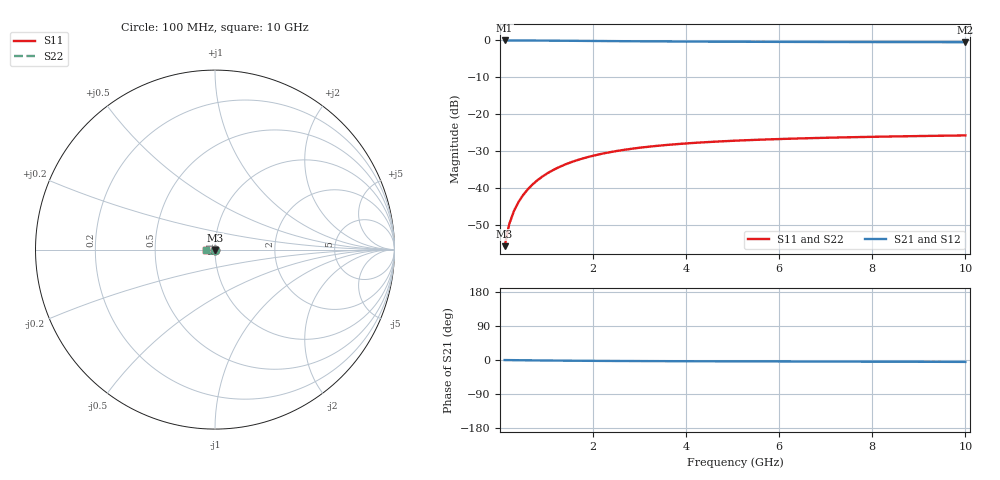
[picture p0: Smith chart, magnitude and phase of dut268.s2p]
! Touchstone file exported from HFSS 2024.1.0
!  File:  C:/UserFiles/LocalFiles/RDL_TSV_Batchsim/temp_TSV1_268_1778769716.aedt
!  Generated:  10:46:49 PM May 14, 2026
!  Design:  TSV1
!  Project:  temp_TSV1_268_1778769716
!  Setup:  Setup1
!  Solution:  Sweep
! Variables:
!  dtsv = 14.14um
!  hbump = 3um
!  htsv = 75.69um
!  lrdl = 252.1521522um
!  p = 40
!  p1 = 59.17um
!  t = 500um
!  trdl = 3um
!  wrdl = 24.89489489um
# GHz S MA R 50.000000
! Terminal data exported
! Port[1] = TSV22_T1
! Port[2] = TSV22_T2
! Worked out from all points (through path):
!   100 points, 100 MHz to 10 GHz, reference 50 ohm
!   highest |S21| = 0.00 dB at 100 MHz (marker M1); lowest = -0.5 dB at 10 GHz (marker M2)
!   lowest |S11| = -55.8 dB at 100 MHz (marker M3), VSWR 1.00, Z = 50 - j0.162 ohm
!   |S11| at or under -10 dB: start of sweep to end of sweep
!   |S22| runs from -55.8 to -25.8 dB; largest |S21 - S12| = 4.1e-15
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0.1  0.001623 -89.2  0.9999 -0.1  0.9999 -0.1  0.001623 -89.2
! Gamma 0 0 0 0
! Port Impedance 50 0 50 0
0.2  0.003244 -92.5  0.9997 -0.3  0.9997 -0.3  0.003244 -92.5
0.3  0.004861 -94.9  0.9994 -0.4  0.9994 -0.4  0.004861 -94.9
0.4  0.006466 -97.1  0.999 -0.6  0.999 -0.6  0.006466 -97.1
0.5  0.008052 -99.2  0.9984 -0.7  0.9984 -0.7  0.008052 -99.2
0.6  0.009614 -101.3  0.9978 -0.8  0.9978 -0.8  0.009614 -101.3
0.7  0.01115 -103.3  0.9972 -1.0  0.9972 -1.0  0.01115 -103.3
0.8  0.01264 -105.3  0.9964 -1.1  0.9964 -1.1  0.01264 -105.3
0.9  0.0141 -107.2  0.9956 -1.2  0.9956 -1.2  0.0141 -107.2
1.1  0.01691 -111.0  0.9937 -1.4  0.9937 -1.4  0.01691 -111.0
1.4  0.02078 -116.2  0.9906 -1.8  0.9906 -1.8  0.02078 -116.2
1.6  0.02313 -119.5  0.9885 -1.9  0.9885 -1.9  0.02313 -119.5
1.8  0.02531 -122.6  0.9863 -2.1  0.9863 -2.1  0.02531 -122.6
2.1  0.02825 -127.0  0.983 -2.3  0.983 -2.3  0.02825 -127.0
2.5  0.03161 -132.2  0.9788 -2.6  0.9788 -2.6  0.03161 -132.2
2.9  0.03444 -136.9  0.9749 -2.8  0.9749 -2.8  0.03444 -136.9
3.4  0.03734 -142.0  0.9706 -3.0  0.9706 -3.0  0.03734 -142.0
4.2  0.04091 -148.9  0.965 -3.3  0.965 -3.3  0.04091 -148.9
5.1  0.04384 -155.2  0.9601 -3.6  0.9601 -3.6  0.04385 -155.2
6.7  0.04738 -164.1  0.9541 -4.0  0.9541 -4.0  0.04738 -164.1
8.4  0.04985 -171.4  0.95 -4.5  0.95 -4.5  0.04985 -171.4
10  0.05155 -177.2  0.9473 -5.0  0.9473 -5.0  0.05155 -177.2
